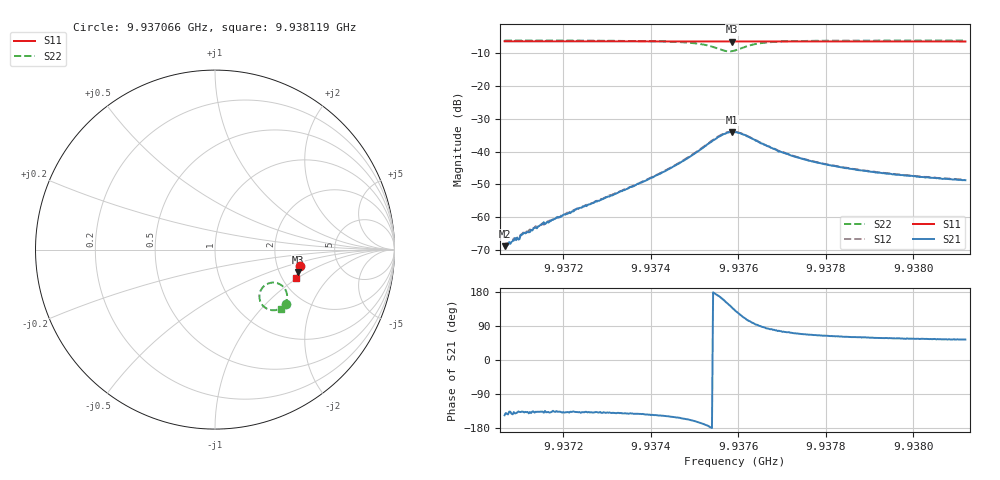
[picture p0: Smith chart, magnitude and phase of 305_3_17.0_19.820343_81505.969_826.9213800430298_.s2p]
#  HZ  S  RI  R  50.00
! Rohde & Schwarz Vector Network Analyzer
! Rohde-Schwarz,ZNB20-2Port,1311601062101988,3.16
! Created: UTC 3/20/2024, 11:05:47 PM
! freq[Hz]  re:S11  im:S11  re:S21  im:S21  re:S12  im:S12  re:S22  im:S22
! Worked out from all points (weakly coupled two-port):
!   401 points, 9.937066 GHz to 9.938119 GHz, reference 50 ohm
!   highest |S21| = -34.01 dB at 9.937585 GHz (marker M1); lowest = -68.9 dB at 9.937066 GHz (marker M2)
!   lowest |S11| = -6.4 dB at 9.937585 GHz (marker M3), VSWR 2.85, Z = 127 - j41.3 ohm
!   |S11| at or under -10 dB: nowhere
!   |S22| runs from -9.4 to -6.1 dB; largest |S21 - S12| = 0.00086
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9.9370664e9  0.4755 -0.0921  -0.000296 -0.000201  -0.000281 -0.000242  0.395 -0.3038
9.9370795e9  0.4754 -0.0932  -0.000283 -0.000268  -0.000315 -0.00028  0.3942 -0.3045
9.937098e9  0.4749 -0.0943  -0.000323 -0.000314  -0.000367 -0.000338  0.3927 -0.306
9.9371085e9  0.4748 -0.0951  -0.000403 -0.000382  -0.000441 -0.000372  0.3919 -0.3067
9.9371243e9  0.4744 -0.0962  -0.000434 -0.000401  -0.000484 -0.000424  0.3908 -0.3078
9.9371506e9  0.4741 -0.0978  -0.000558 -0.000535  -0.000581 -0.000487  0.3887 -0.3097
9.9371638e9  0.4738 -0.0988  -0.000627 -0.000572  -0.000624 -0.000595  0.3878 -0.3108
9.9372428e9  0.4722 -0.1041  -0.00103 -0.000933  -0.00106 -0.000945  0.38 -0.3174
9.9373165e9  0.4707 -0.1091  -0.00169 -0.00143  -0.00173 -0.00141  0.3707 -0.3241
9.9374191e9  0.4686 -0.116  -0.00376 -0.00248  -0.00382 -0.00249  0.348 -0.3345
9.9374797e9  0.4669 -0.1203  -0.00688 -0.0031  -0.00706 -0.00308  0.3193 -0.3379
9.9375244e9  0.4654 -0.123  -0.0119 -0.00194  -0.0122 -0.00173  0.2787 -0.323
9.9375639e9  0.4637 -0.1249  -0.017 0.00576  -0.0172 0.0063  0.2474 -0.2544
9.937585e9  0.4631 -0.1255  -0.0151 0.013  -0.0149 0.0135  0.2743 -0.2019
9.9375929e9  0.4632 -0.1256  -0.013 0.0148  -0.0127 0.0156  0.2942 -0.19
9.9376219e9  0.4638 -0.1272  -0.00436 0.0164  -0.00405 0.0167  0.3622 -0.1933
9.9376508e9  0.4638 -0.1292  8.62e-05 0.0136  0.000502 0.0136  0.3928 -0.2245
9.9376982e9  0.4629 -0.1328  0.00237 0.00958  0.00273 0.00959  0.4022 -0.2619
9.9377693e9  0.4614 -0.1377  0.00283 0.00645  0.003 0.00649  0.3972 -0.29
9.9378404e9  0.4597 -0.1426  0.00272 0.00498  0.0028 0.00501  0.3904 -0.305
9.9379457e9  0.4572 -0.1494  0.00244 0.00387  0.00255 0.00385  0.3812 -0.3184
9.9381194e9  0.4527 -0.1608  0.00215 0.00294  0.00224 0.00292  0.3692 -0.3333
